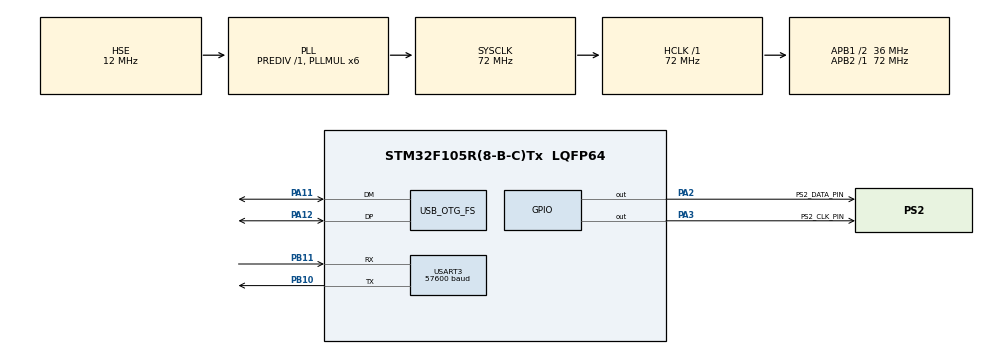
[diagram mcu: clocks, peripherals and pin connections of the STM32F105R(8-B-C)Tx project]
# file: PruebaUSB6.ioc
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Mcu.Family=STM32F1
Mcu.Name=STM32F105R(8-B-C)Tx
Mcu.Package=LQFP64
NVIC.OTG_FS_IRQn=true\:0\:0\:false\:false\:true
NVIC.PriorityGroup=NVIC_PRIORITYGROUP_4
PA11.Mode=Host_Only
PA11.Signal=USB_OTG_FS_DM
PA12.Mode=Host_Only
PA12.Signal=USB_OTG_FS_DP
PA13.Mode=Trace_Asynchronous_SW
PA13.Signal=SYS_JTMS-SWDIO
PA14.Mode=Trace_Asynchronous_SW
PA14.Signal=SYS_JTCK-SWCLK
PA2.GPIO_Label=PS2_DATA_PIN
PA2.GPIO_Speed=GPIO_SPEED_FREQ_HIGH
PA2.PinState=GPIO_PIN_RESET
PA2.Signal=GPIO_Output
PA3.GPIO_Label=PS2_CLK_PIN
PA3.GPIO_Speed=GPIO_SPEED_FREQ_HIGH
PA3.PinState=GPIO_PIN_RESET
PA3.Signal=GPIO_Output
PB10.Mode=Asynchronous
PB10.Signal=USART3_TX
PB11.Mode=Asynchronous
PB11.Signal=USART3_RX
PB3.Mode=Trace_Asynchronous_SW
PB3.Signal=SYS_TRACESWO
PD0-OSC_IN.Mode=HSE-External-Oscillator
PD0-OSC_IN.Signal=RCC_OSC_IN
PD1-OSC_OUT.Mode=HSE-External-Oscillator
PD1-OSC_OUT.Signal=RCC_OSC_OUT
ProjectManager.HeapSize=0x200
ProjectManager.StackSize=0x400
ProjectManager.TargetToolchain=SW4STM32
RCC.AHBFreq_Value=72000000
RCC.APB1CLKDivider=RCC_HCLK_DIV2
RCC.APB1Freq_Value=36000000
RCC.APB1TimFreq_Value=72000000
RCC.APB2Freq_Value=72000000
RCC.APB2TimFreq_Value=72000000
RCC.HCLKFreq_Value=72000000
RCC.HSE_VALUE=12000000
RCC.PLLMUL=RCC_PLL_MUL6
RCC.SYSCLKFreq_VALUE=72000000
RCC.SYSCLKSource=RCC_SYSCLKSOURCE_PLLCLK
RCC.USBFreq_Value=48000000
USART3.BaudRate=57600
USART3.Mode=MODE_TX
USART3.VirtualMode=VM_ASYNC
USB_HOST.USBH_HandleTypeDef=hUsbHostFS
USB_HOST.USBH_MAX_NUM_CONFIGURATION=1
USB_HOST.VirtualModeFS=All_Classes
USB_OTG_FS.VirtualMode=Host_Only
VP_USB_HOST_VS_USB_HOST_ALL_CLASS_FS.Mode=ALL_Classes_FS
board=PruebaUSB6

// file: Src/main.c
/**
 ******************************************************************************
 * File Name          : main.c
 * Description        : Main program body
 ******************************************************************************
 * This notice applies to any and all portions of this file
 * that are not between comment pairs USER CODE BEGIN and
 * USER CODE END. Other portions of this file, whether
 * inserted by the user or by software development tools
 * are owned by their respective copyright owners.
 *
 * Copyright (c) 2017 STMicroelectronics International N.V.
 * All rights reserved.
 *
 * Redistribution and use in source and binary forms, with or without
 * modification, are permitted, provided that the following conditions are met:
 *
 * 1. Redistribution of source code must retain the above copyright notice,
 *    this list of conditions and the following disclaimer.
 * 2. Redistributions in binary form must reproduce the above copyright notice,
 *    this list of conditions and the following disclaimer in the documentation
 *    and/or other materials provided with the distribution.
 * 3. Neither the name of STMicroelectronics nor the names of other
 *    contributors to this software may be used to endorse or promote products
 *    derived from this software without specific written permission.
 * 4. This software, including modifications and/or derivative works of this
 *    software, must execute solely and exclusively on microcontroller or
 *    microprocessor devices manufactured by or for STMicroelectronics.
 * 5. Redistribution and use of this software other than as permitted under
 *    this license is void and will automatically terminate your rights under
 *    this license.
 *
 * THIS SOFTWARE IS PROVIDED BY STMICROELECTRONICS AND CONTRIBUTORS "AS IS"
 * AND ANY EXPRESS, IMPLIED OR STATUTORY WARRANTIES, INCLUDING, BUT NOT
 * LIMITED TO, THE IMPLIED WARRANTIES OF MERCHANTABILITY, FITNESS FOR A
 * PARTICULAR PURPOSE AND NON-INFRINGEMENT OF THIRD PARTY INTELLECTUAL PROPERTY
 * RIGHTS ARE DISCLAIMED TO THE FULLEST EXTENT PERMITTED BY LAW. IN NO EVENT
 * SHALL STMICROELECTRONICS OR CONTRIBUTORS BE LIABLE FOR ANY DIRECT, INDIRECT,
 * INCIDENTAL, SPECIAL, EXEMPLARY, OR CONSEQUENTIAL DAMAGES (INCLUDING, BUT NOT
 * LIMITED TO, PROCUREMENT OF SUBSTITUTE GOODS OR SERVICES; LOSS OF USE, DATA,
 * OR PROFITS; OR BUSINESS INTERRUPTION) HOWEVER CAUSED AND ON ANY THEORY OF
 * LIABILITY, WHETHER IN CONTRACT, STRICT LIABILITY, OR TORT (INCLUDING
 * NEGLIGENCE OR OTHERWISE) ARISING IN ANY WAY OUT OF THE USE OF THIS SOFTWARE,
 * EVEN IF ADVISED OF THE POSSIBILITY OF SUCH DAMAGE.
 *
 ******************************************************************************
 ******************************************************************************
 *
 *
 * *** USER CODE LICENSE ***
 *
 * Project description: Firmware for USB Keyboard stm32 module for ZX-Uno v4.2
 *
 * MIT Licensed 2017 by Juan Jose luna Espinosa
 * (https://github.com/yomboprime/usb_zxuno)
 *
 * PS/2 Protocol and bit banged output code derived from JOY2PS2, by Spark2k06,
 * which in turn is derived from original code by Quest.
 * License is Creative Commons by SA
 * (https://github.com/spark2k06/zxuno/tree/master/joy2ps2)
 *
 *
 *
 * Copyright 2017 Juan Jose Luna Espinosa
 * Permission is hereby granted, free of charge, to any person obtaining a copy
 * of this software and associated documentation files (the "Software"), to deal
 * in the Software without restriction, including without limitation the rights
 * to use, copy, modify, merge, publish, distribute, sublicense, and/or sell
 * copies of the Software, and to permit persons to whom the Software is furnished
 * to do so, subject to the following conditions:

 * The above copyright notice and this permission notice shall be included in all
 * copies or substantial portions of the Software.

 * THE SOFTWARE IS PROVIDED "AS IS", WITHOUT WARRANTY OF ANY KIND, EXPRESS OR
 * IMPLIED, INCLUDING BUT NOT LIMITED TO THE WARRANTIES OF MERCHANTABILITY,
 * FITNESS FOR A PARTICULAR PURPOSE AND NONINFRINGEMENT. IN NO EVENT SHALL THE
 * AUTHORS OR COPYRIGHT HOLDERS BE LIABLE FOR ANY CLAIM, DAMAGES OR OTHER LIABILITY,
 * WHETHER IN AN ACTION OF CONTRACT, TORT OR OTHERWISE, ARISING FROM, OUT OF OR
 * IN CONNECTION WITH THE SOFTWARE OR THE USE OR OTHER DEALINGS IN THE SOFTWARE.
 *
 * *****************************************************************************
 *
 * History
 *
 * 29-Aug-2017 - First release
 *
 *
 ********************************************************************************
 */
#include "main.h"
#include "stm32f1xx_hal.h"
#include "usb_host.h"

/* USER CODE BEGIN Includes */

#include "usbh_hid_keybd.h"

#include "PS2.h"

/* USER CODE END Includes */

UART_HandleTypeDef huart3;

/* USER CODE BEGIN PV */

extern uint32_t uwTick;

// Microseconds for PS/2 half bit and full bit
#define CK1 16
#define CK2 32

#define MAX_KEYB_KEYS 6
#define NUM_CONTROL_KEYS 3
#define MAX_KEYB_BYTES ( MAX_KEYB_KEYS * 5 + NUM_CONTROL_KEYS * 3 )

// These are PS/2 codes
uint8_t keyCodeQueue[ MAX_KEYB_BYTES ];
int numBytesInQueue = 0;

// These are USB HID key codes of keys currently pressed
uint8_t keysPressed[ MAX_KEYB_KEYS ];

// These are flags
#define CONTROL_KEY_LEFT_CONTROL 0
#define CONTROL_KEY_LEFT_ALT 1
#define CONTROL_KEY_LEFT_SHIFT 2
uint8_t controlKeysPressed[ NUM_CONTROL_KEYS ];

// Macros para poner estado de los pines del PS/2
#define SET_PIN_PS2_DATA( x ) HAL_GPIO_WritePin( GPIOA, PS2_DATA_PIN_Pin, x ? GPIO_PIN_SET : GPIO_PIN_RESET )
#define SET_PIN_PS2_CLK( x ) HAL_GPIO_WritePin( GPIOA, PS2_CLK_PIN_Pin, x ? GPIO_PIN_SET : GPIO_PIN_RESET )

// Puerto serie solo para salida de debug
UART_HandleTypeDef *phuart3 = &huart3;

/* Private variables ---------------------------------------------------------*/

/* USER CODE END PV */

void SystemClock_Config(void);
static void MX_GPIO_Init(void);
static void MX_USART3_UART_Init(void);
void MX_USB_HOST_Process(void);

/* USER CODE BEGIN PFP */

void enqueueUSBKey( uint8_t usbCode, uint8_t release );
void enqueueUSBByte( uint8_t code );
void enviarBytePS2( uint8_t code );
void sendPS2Queue();

void enviarByteUSART3( uint16_t dato );
void enviarCadenaUSART3( const char* cadena );
char *byte2ascii( uint8_t b, char *s );
char *uint32_2ascii( uint32_t b, char *s );
void printByteToUART3( uint8_t data );
void printUInt32ToUART3( uint32_t data );

void DWT_Init( void );
uint32_t DWT_Get(void);
void DWT_Reset();
uint32_t DWT_GetUs(void);
__inline uint8_t DWT_Compare( int32_t tp );
void DWT_DelayUS( uint32_t us );
void DWT_DelayMS( uint32_t ms );

/* Private function prototypes -----------------------------------------------*/

/* USER CODE END PFP */

int main(void) {

	/* MCU Configuration----------------------------------------------------------*/

	/* Reset of all peripherals, Initializes the Flash interface and the Systick. */
	HAL_Init();

	/* Configure the system clock */
	SystemClock_Config();

	/* Initialize all configured peripherals */
	MX_GPIO_Init();
	MX_USART3_UART_Init();
	MX_USB_HOST_Init();

	/* USER CODE BEGIN 2 */

	DWT_Init();

	uint32_t t0, t1;
	t0 = HAL_GetTick();

	for ( uint16_t i = 0; i < MAX_KEYB_KEYS; i++ ) {
		keysPressed[ i ] = 0;
	}

	/* USER CODE END 2 */

	/* Infinite loop */
	while (1) {
		MX_USB_HOST_Process();

		/* USER CODE BEGIN 3 */

		if (getAppliState() == APPLICATION_READY) {
			USBH_HandleTypeDef *phost = getUSBH_Handle();

			// Read keyboard
			HID_KEYBD_Info_TypeDef *keybInfo = USBH_HID_GetKeybdInfo(phost);

			if ( keybInfo != NULL ) {
				//enviarCadenaUSART3( "Evento de tecla:\r\n" );

				// Send/release the control keys
				if ( keybInfo->lctrl ) {
					if ( ! controlKeysPressed[ CONTROL_KEY_LEFT_CONTROL ] ) {
						// Press
						enqueueUSBKey( KEY_LEFTCONTROL, 0 );
						controlKeysPressed[ CONTROL_KEY_LEFT_CONTROL ] = 1;
					}
				}
				else {
					if ( controlKeysPressed[ CONTROL_KEY_LEFT_CONTROL ] ) {
						// Release
						enqueueUSBKey( KEY_LEFTCONTROL, 1 );
						controlKeysPressed[ CONTROL_KEY_LEFT_CONTROL ] = 0;
					}
				}

				if ( keybInfo->lshift ) {
					if ( ! controlKeysPressed[ CONTROL_KEY_LEFT_SHIFT ] ) {
						// Press
						enqueueUSBKey( KEY_LEFTSHIFT, 0 );
						controlKeysPressed[ CONTROL_KEY_LEFT_SHIFT ] = 1;
					}
				}
				else {
					if ( controlKeysPressed[ CONTROL_KEY_LEFT_SHIFT ] ) {
						// Release
						enqueueUSBKey( KEY_LEFTSHIFT, 1 );
						controlKeysPressed[ CONTROL_KEY_LEFT_SHIFT ] = 0;
					}
				}

				if ( keybInfo->lalt ) {
					if ( ! controlKeysPressed[ CONTROL_KEY_LEFT_ALT ] ) {
						// Press
						enqueueUSBKey( KEY_LEFTALT, 0 );
						controlKeysPressed[ CONTROL_KEY_LEFT_ALT ] = 1;
					}
				}
				else {
					if ( controlKeysPressed[ CONTROL_KEY_LEFT_ALT ] ) {
						// Release
						enqueueUSBKey( KEY_LEFTALT, 1 );
						controlKeysPressed[ CONTROL_KEY_LEFT_ALT ] = 0;
					}
				}

				// Search for keys previously pressed and now released
				for ( uint16_t i = 0; i < MAX_KEYB_KEYS; i++ ) {
					uint8_t keyPressed = keysPressed[ i ];
					if ( keyPressed ) {
						uint8_t found = 0;
						for ( uint16_t j = 0; j < MAX_KEYB_KEYS; j++ ) {
							uint8_t usbCode = keybInfo->keys[ j ];
							if ( keyPressed == usbCode ) {
								found = 1;
								break;
							}
						}
						if ( found == 0 ) {
							// Key is released
							enqueueUSBKey( keyPressed, 1 );
							keysPressed[ i ] = 0;
						}
					}
				}

				// Iterate through keys that were just pressed
				for ( uint16_t i = 0; i < MAX_KEYB_KEYS; i++ ) {

					uint8_t usbCode = keybInfo->keys[ i ];

					if ( usbCode ) {

						uint8_t found = 0;
						int freeIndex = -1;
						for ( uint16_t j = 0; j < MAX_KEYB_KEYS; j++ ) {
							uint8_t keyPressed = keysPressed[ j ];
							if ( keyPressed == 0 ) {
								freeIndex = j;
							}
							if ( keyPressed == usbCode ) {
								freeIndex = -1;
								found = 1;
								break;
							}
						}

						if ( freeIndex >= 0 ) {
							// Save key as pressed
							keysPressed[ freeIndex ] = usbCode;
						}

						if ( ! found ) {
							// Key is newly pressed
							enqueueUSBKey( usbCode, 0 );
						}

						//enviarCadenaUSART3("Tecla: ");
						//printByteToUART3( usbCode );
						//enviarCadenaUSART3("\r\n");

					}
				}

				sendPS2Queue();

				//enviarCadenaUSART3("Fin evento.\r\n");

			}
		}

		/*
	    t1 = HAL_GetTick();
	    if ( t1 - t0 > 1000 ) {
	    	t0 = t1;

	    	enviarCadenaUSART3( "Test - " );
	    	printUInt32ToUART3( DWT_GetUs() );
	    	enviarCadenaUSART3( "\r\n" );

	    }
	    */

	}
	/* USER CODE END 3 */

}

/** System Clock Configuration
 */
void SystemClock_Config(void) {

	RCC_OscInitTypeDef RCC_OscInitStruct;
	RCC_ClkInitTypeDef RCC_ClkInitStruct;
	RCC_PeriphCLKInitTypeDef PeriphClkInit;

	/**Initializes the CPU, AHB and APB busses clocks
	 */
	RCC_OscInitStruct.OscillatorType = RCC_OSCILLATORTYPE_HSE;
	RCC_OscInitStruct.HSEState = RCC_HSE_ON;
	RCC_OscInitStruct.HSEPredivValue = RCC_HSE_PREDIV_DIV1;
	RCC_OscInitStruct.HSIState = RCC_HSI_ON;
	RCC_OscInitStruct.Prediv1Source = RCC_PREDIV1_SOURCE_HSE;
	RCC_OscInitStruct.PLL.PLLState = RCC_PLL_ON;
	RCC_OscInitStruct.PLL.PLLSource = RCC_PLLSOURCE_HSE;
	RCC_OscInitStruct.PLL.PLLMUL = RCC_PLL_MUL6;
	RCC_OscInitStruct.PLL2.PLL2State = RCC_PLL_NONE;
	if (HAL_RCC_OscConfig(&RCC_OscInitStruct) != HAL_OK) {
		_Error_Handler(__FILE__, __LINE__);
	}

	/**Initializes the CPU, AHB and APB busses clocks
	 */
	RCC_ClkInitStruct.ClockType = RCC_CLOCKTYPE_HCLK | RCC_CLOCKTYPE_SYSCLK
			| RCC_CLOCKTYPE_PCLK1 | RCC_CLOCKTYPE_PCLK2;
	RCC_ClkInitStruct.SYSCLKSource = RCC_SYSCLKSOURCE_PLLCLK;
	RCC_ClkInitStruct.AHBCLKDivider = RCC_SYSCLK_DIV1;
	RCC_ClkInitStruct.APB1CLKDivider = RCC_HCLK_DIV2;
	RCC_ClkInitStruct.APB2CLKDivider = RCC_HCLK_DIV1;

	if (HAL_RCC_ClockConfig(&RCC_ClkInitStruct, FLASH_LATENCY_2) != HAL_OK) {
		_Error_Handler(__FILE__, __LINE__);
	}

	PeriphClkInit.PeriphClockSelection = RCC_PERIPHCLK_USB;
	PeriphClkInit.UsbClockSelection = RCC_USBCLKSOURCE_PLL_DIV3;
	if (HAL_RCCEx_PeriphCLKConfig(&PeriphClkInit) != HAL_OK) {
		_Error_Handler(__FILE__, __LINE__);
	}

	/**Configure the Systick interrupt time
	 */
	HAL_SYSTICK_Config(HAL_RCC_GetHCLKFreq() / 1000);

	/**Configure the Systick
	 */
	HAL_SYSTICK_CLKSourceConfig(SYSTICK_CLKSOURCE_HCLK);

	/**Configure the Systick interrupt time
	 */
	__HAL_RCC_PLLI2S_ENABLE();

	/* SysTick_IRQn interrupt configuration */
	HAL_NVIC_SetPriority(SysTick_IRQn, 0, 0);
}

/* USART3 init function */
static void MX_USART3_UART_Init(void) {

	huart3.Instance = USART3;
	huart3.Init.BaudRate = 57600;
	huart3.Init.WordLength = UART_WORDLENGTH_8B;
	huart3.Init.StopBits = UART_STOPBITS_1;
	huart3.Init.Parity = UART_PARITY_NONE;
	huart3.Init.Mode = UART_MODE_TX;
	huart3.Init.HwFlowCtl = UART_HWCONTROL_NONE;
	huart3.Init.OverSampling = UART_OVERSAMPLING_16;
	if (HAL_UART_Init(&huart3) != HAL_OK) {
		_Error_Handler(__FILE__, __LINE__);
	}

}

/** Configure pins as
 * Analog
 * Input
 * Output
 * EVENT_OUT
 * EXTI
 */
static void MX_GPIO_Init(void) {

	GPIO_InitTypeDef GPIO_InitStruct;

	/* GPIO Ports Clock Enable */
	__HAL_RCC_GPIOD_CLK_ENABLE()
	;
	__HAL_RCC_GPIOA_CLK_ENABLE()
	;
	__HAL_RCC_GPIOB_CLK_ENABLE()
	;

	/*Configure GPIO pin Output Level */
	HAL_GPIO_WritePin(GPIOA, PS2_DATA_PIN_Pin | PS2_CLK_PIN_Pin, GPIO_PIN_RESET);

	/*Configure GPIO pins : PS2_DATA_PIN_Pin PS2_CLK_PIN_Pin */
	GPIO_InitStruct.Pin = PS2_DATA_PIN_Pin | PS2_CLK_PIN_Pin;
	GPIO_InitStruct.Mode = GPIO_MODE_OUTPUT_PP;
	GPIO_InitStruct.Speed = GPIO_SPEED_FREQ_HIGH;
	HAL_GPIO_Init(GPIOA, &GPIO_InitStruct);

}

/* USER CODE BEGIN 4 */

void enviarBytePS2( uint8_t code ) {

	uint8_t parity = 1;

	SET_PIN_PS2_DATA( 0 );
	DWT_DelayUS( CK1 );

	SET_PIN_PS2_CLK( 0 );
	DWT_DelayUS( CK2 );
	SET_PIN_PS2_CLK( 1 );
	DWT_DelayUS( CK1 );

	for ( int i = 0; i < 8; i++ ) {

		if ( code & ( 1 << i ) ) {
			SET_PIN_PS2_DATA( 1 );
			parity = parity ^ 1;
		}
		else {
			SET_PIN_PS2_DATA( 0 );
		}

		DWT_DelayUS( CK1 );
		SET_PIN_PS2_CLK( 0 );
		DWT_DelayUS( CK2 );
		SET_PIN_PS2_CLK( 1 );
		DWT_DelayUS( CK1 );

	}

	// Bit de paridad
	SET_PIN_PS2_DATA( parity  );

	DWT_DelayUS( CK1 );
	SET_PIN_PS2_CLK( 0 );
	DWT_DelayUS( CK2 );
	SET_PIN_PS2_CLK( 1 );
	DWT_DelayUS( CK1 );

	// Bit de parada
	SET_PIN_PS2_DATA( 1  );

	DWT_DelayUS( CK1 );
	SET_PIN_PS2_CLK( 0 );
	DWT_DelayUS( CK2 );
	SET_PIN_PS2_CLK( 1 );
	DWT_DelayUS( CK1 );

	DWT_DelayUS( 50 );

}

void enqueueUSBKey( uint8_t usbCode, uint8_t release ) {

	uint8_t key = translationTableUSBToPS2[ usbCode ];
	uint8_t codigoPS2 = ScanCodes2[ key ];

	uint8_t extended = 0;

		//checkeamos si es una tecla con scancode extendido (E0)
	switch ( key ) {
		case PS2_KEY_UP:
		case PS2_KEY_DOWN:
		case PS2_KEY_LEFT:
		case PS2_KEY_RIGHT:
		case PS2_KEY_INS:
		case PS2_KEY_HOME:
		case PS2_KEY_PUP:
		case PS2_KEY_DEL:
		case PS2_KEY_END:
		case PS2_KEY_PDN:
		case PS2_KEYPAD_BAR:
		case PS2_KEYPAD_ENT:
			extended = 1;
			break;
		default:
			extended = 0;
			break;
	}

	if ( extended ) {
		enqueueUSBByte( 0xE0 );
	}

	// Set 1 release
	//if ( release && scancodeset == 1 ) {
	//  enqueueUSBByte( codigoPS2 | 0x80 );
	//}

	// Set 1 make
	//if ( ! release && scancodeset == 1) {
	//  enqueueUSBByte( codigoPS2 );
	//}

	// Set 2 release
	if ( release ) {
		enqueueUSBByte( 0xF0 );
	}

	// Set 2 make or release
	enqueueUSBByte( codigoPS2 );

}

void enqueueUSBByte( uint8_t code ) {
	keyCodeQueue[ numBytesInQueue++ ] = code;
}

void sendPS2Queue() {

	for ( int index = 0; index < numBytesInQueue; index++ ) {

		uint8_t sendCode = keyCodeQueue[ index ];

		enviarBytePS2( sendCode );

	}

	numBytesInQueue = 0;

}

void enviarByteUSART3(uint16_t dato) {

	while ( __HAL_UART_GET_FLAG( phuart3, UART_FLAG_TXE ) == 0) {
		// Just wait for the transmission of the previous byte.
	}

	huart3.Instance->DR = (dato & (uint16_t) 0x01FF);

}

void enviarCadenaUSART3(const char* cadena) {

	while (*cadena != 0) {
		enviarByteUSART3((uint16_t) (*cadena));
		cadena++;
	}

}

char *byte2ascii(uint8_t b, char *s) {

	// converts number b to decimal string
	// s must be 4 bytes long at least
	// Returns pointer to end of string (contains 0)

	if (b >= 100) {
		*s++ = '0' + (b / 100);
		b = b - (b / 100) * 100;
	}
	else {
		*s++ = '0';
	}

	if (b >= 10) {
		*s++ = '0' + (b / 10);
		b = b - (b / 10) * 10;
	}
	else {
		*s++ = '0';
	}

	*s++ = '0' + b;

	*s = 0;

	return s;

}

char *uint32_2ascii(uint32_t b, char *s) {

	// converts number b to decimal string
	// s must be 11 bytes long at least
	// Returns pointer to end of string (contains 0)

	if (b >= 1000000000L) {
		*s++ = '0' + (b / 1000000000L);
		b = b - (b / 1000000000L) * 1000000000L;
	}
	else {
		*s++ = '0';
	}

	if (b >= 100000000L) {
		*s++ = '0' + (b / 100000000L);
		b = b - (b / 100000000L) * 100000000L;
	}
	else {
		*s++ = '0';
	}

	if (b >= 10000000L) {
		*s++ = '0' + (b / 10000000L);
		b = b - (b / 10000000L) * 10000000L;
	}
	else {
		*s++ = '0';
	}

	if (b >= 1000000L) {
		*s++ = '0' + (b / 1000000L);
		b = b - (b / 1000000L) * 1000000L;
	}
	else {
		*s++ = '0';
	}

	if (b >= 100000L) {
		*s++ = '0' + (b / 100000L);
		b = b - (b / 100000L) * 100000L;
	}
	else {
		*s++ = '0';
	}

	if (b >= 10000) {
		*s++ = '0' + (b / 10000);
		b = b - (b / 10000) * 10000;
	}
	else {
		*s++ = '0';
	}

	if (b >= 1000) {
		*s++ = '0' + (b / 1000);
		b = b - (b / 1000) * 1000;
	}
	else {
		*s++ = '0';
	}

	if (b >= 100) {
		*s++ = '0' + (b / 100);
		b = b - (b / 100) * 100;
	}
	else {
		*s++ = '0';
	}

	if (b >= 10) {
		*s++ = '0' + (b / 10);
		b = b - (b / 10) * 10;
	}
	else {
		*s++ = '0';
	}

	*s++ = '0' + b;

	*s = 0;

	return s;

}

void printByteToUART3(uint8_t data) {

	char s[4];

	byte2ascii(data, s);

	enviarCadenaUSART3(s);

}

void printUInt32ToUART3(uint32_t data) {

	char s[11];

	uint32_2ascii( data, s );

	enviarCadenaUSART3(s);

}

extern uint32_t SystemCoreClock;

// Microseconds timing functions obtained from:
// https://kbiva.wordpress.com/2013/03/25/microsecond-delay-function-for-stm32/
void DWT_Init(void) {
//	if ( ! ( CoreDebug->DEMCR & CoreDebug_DEMCR_TRCENA_Msk ) ) {
		CoreDebug->DEMCR |= CoreDebug_DEMCR_TRCENA_Msk;
		DWT->CYCCNT = 0;
		DWT->CTRL |= DWT_CTRL_CYCCNTENA_Msk;
//	}
}

uint32_t DWT_Get(void) {
	return DWT->CYCCNT;
}

void DWT_Reset() {
	DWT->CYCCNT = 0;
}

uint32_t DWT_GetUs(void) {
	return (uint32_t)( ( 1000000.0 * DWT_Get() ) / SystemCoreClock );
}

__inline uint8_t DWT_Compare( int32_t tp ) {
	return ( ( (int32_t ) DWT_Get() - tp) < 0 );
}

void DWT_DelayUS( uint32_t us ) {
	int32_t tp = DWT_Get() + us * (SystemCoreClock / 1000000);
	while ( DWT_Compare( tp ) ) {
		// Wait
	}
}

void DWT_DelayMS( uint32_t ms ) {
	DWT_DelayUS( ms * 1000 );
}

/* USER CODE END 4 */

void _Error_Handler(char * file, int line) {
	while (1) {
	}
}

/************************ (C) COPYRIGHT STMicroelectronics *****END OF FILE****/
